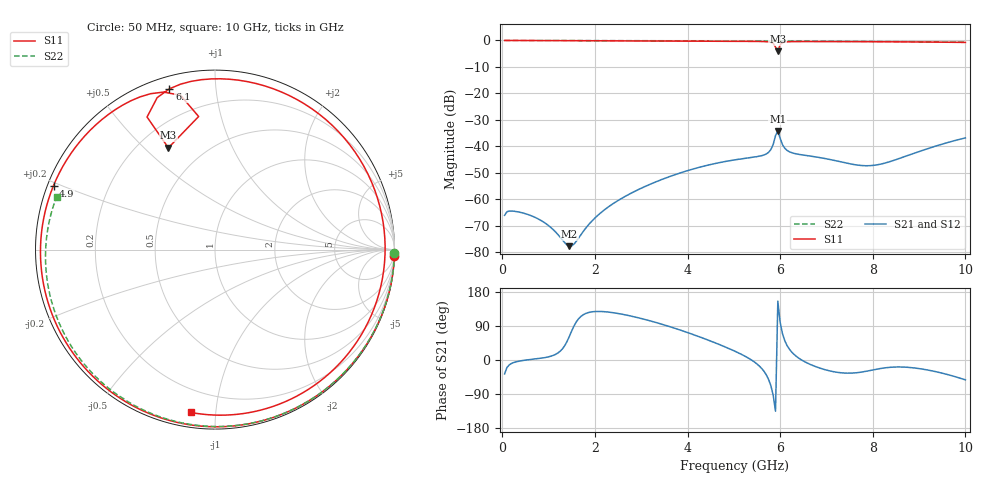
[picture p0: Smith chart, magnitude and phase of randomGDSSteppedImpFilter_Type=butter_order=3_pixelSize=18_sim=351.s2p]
! freq	dB(S11)	phase(S11)	dB(S12)	phase(S12)
!  dB(S21)	phase(S21)	dB(S22)	phase(S22)
!S-par simulation data
#  GHz  S  DB  R 50
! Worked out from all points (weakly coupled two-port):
!   200 points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, 50 MHz to 10 GHz, reference 50 ohm
!   highest |S21| = -34.22 dB at 5.95 GHz (marker M1); lowest = -77.8 dB at 1.45 GHz (marker M2)
!   lowest |S11| = -4.1 dB at 5.95 GHz (marker M3), VSWR 4.31, Z = 16 + j29.7 ohm
!   |S11| at or under -10 dB: nowhere
!   |S22| runs from -0.6 to 0.0 dB; largest |S21 - S12| = 0
!   S11 on the Smith chart (normalised r, x): 50 MHz: 0, -54; 4.9 GHz: 0.02, +0.19; 6.1 GHz: 0.06, +0.75; 10 GHz: 0.08, -0.86
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0.05  -0.00 -2.1  -66.10 -36.7  -66.10 -36.7  -0.00 -1.1
0.2  -0.00 -8.5  -64.48 -9.0  -64.48 -9.0  -0.00 -4.5
0.7  -0.03 -29.6  -66.81 2.6  -66.81 2.6  -0.02 -15.8
1.45  -0.08 -60.6  -77.76 62.8  -77.76 62.8  -0.04 -32.3
1.75  -0.09 -72.7  -72.15 119.6  -72.15 119.6  -0.05 -38.8
2.55  -0.13 -104.4  -59.97 121.7  -59.97 121.7  -0.07 -55.8
3.4  -0.17 -137.9  -52.86 96.1  -52.86 96.1  -0.10 -73.2
4.2  -0.23 -170.6  -48.20 63.7  -48.20 63.7  -0.12 -88.9
4.9  -0.28 158.4  -45.48 29.9  -45.48 29.9  -0.15 -102.2
5.05  -0.30 151.3  -45.05 21.7  -45.05 21.7  -0.16 -105.0
5.5  -0.36 128.3  -43.91 -10.6  -43.91 -10.6  -0.18 -113.3
5.8  -0.69 108.1  -41.23 -68.0  -41.23 -68.0  -0.20 -118.8
5.9  -2.53 97.0  -35.99 -135.1  -35.99 -135.1  -0.22 -120.6
5.95  -4.10 114.6  -34.22 155.2  -34.22 155.2  -0.23 -121.5
6  -1.62 117.1  -36.97 99.3  -36.97 99.3  -0.22 -122.4
6.1  -0.62 105.8  -40.75 50.8  -40.75 50.8  -0.22 -124.2
6.7  -0.42 67.2  -43.83 -14.3  -43.83 -14.3  -0.26 -135.1
7.15  -0.43 40.8  -45.27 -30.8  -45.27 -30.8  -0.30 -143.2
7.55  -0.45 17.8  -46.77 -34.5  -46.77 -34.5  -0.33 -150.5
8.35  -0.50 -25.3  -45.91 -19.5  -45.91 -19.5  -0.41 -165.3
9.15  -0.59 -63.0  -41.11 -25.6  -41.11 -25.6  -0.51 179.2
10  -0.75 -98.3  -36.83 -52.4  -36.83 -52.4  -0.63 161.6
